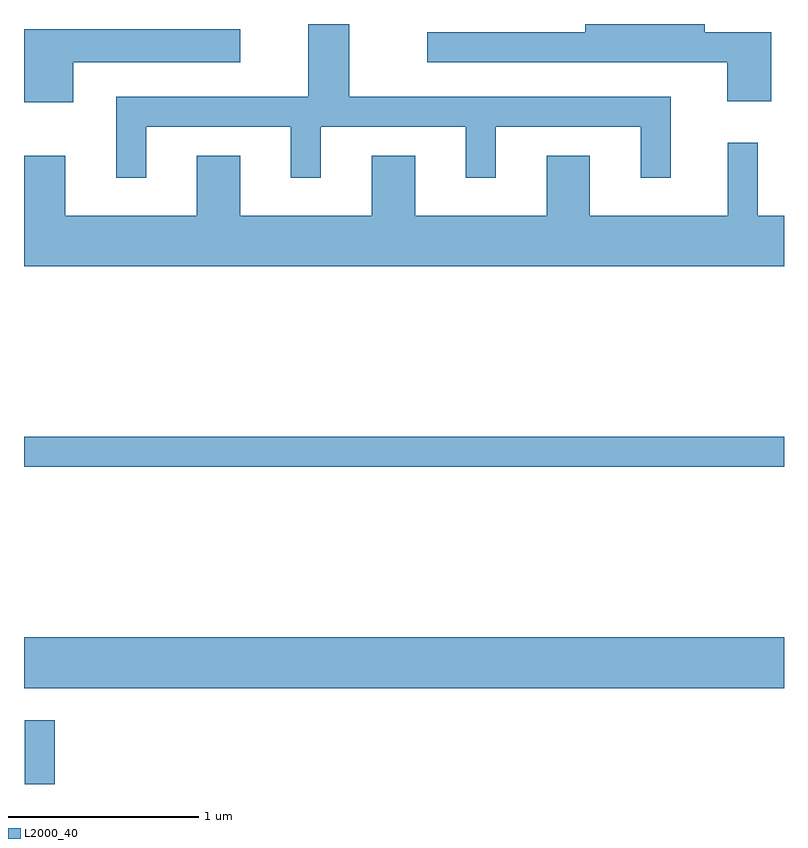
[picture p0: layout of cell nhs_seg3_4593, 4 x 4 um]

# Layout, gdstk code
import gdstk
lib = gdstk.Library(unit=1e-6, precision=1e-09)
def R(c, l, rs):  # rectangles x0, y0, x1, y1
    for r in rs: c.add(gdstk.rectangle(r[:2], r[2:], *l))
def P(c, l, *ps):  # polygons
    for p in ps: c.add(gdstk.Polygon(p, *l))
L2000_40 = (2000, 40)

nhs_seg3_4593 = lib.new_cell('nhs_seg3_4593')
R(nhs_seg3_4593, L2000_40, [(319.616,1189.892,319.774,1190.228), (319.611,1190.396,323.611,1190.664), (319.611,1191.561,323.611,1191.719)])
P(nhs_seg3_4593, L2000_40, [(320.254,1193.351),(321.016,1193.351),(321.016,1193.083),(321.174,1193.083),(321.174,1193.351),(321.936,1193.351),(321.936,1193.083),(322.094,1193.083),(322.094,1193.351),(322.856,1193.351),(322.856,1193.083),(323.014,1193.083),(323.014,1193.509),(321.324,1193.509),(321.324,1193.892),(321.106,1193.892),(321.106,1193.509),(320.096,1193.509),(320.096,1193.083),(320.254,1193.083)],
  [(323.544,1193.849),(323.194,1193.849),(323.194,1193.892),(322.566,1193.892),(322.566,1193.849),(321.733,1193.849),(321.733,1193.691),(323.311,1193.691),(323.311,1193.486),(323.544,1193.486)],
  [(319.869,1193.691),(320.749,1193.691),(320.749,1193.864),(319.611,1193.864),(319.611,1193.481),(319.869,1193.481)],
  [(323.611,1192.884),(323.474,1192.884),(323.474,1193.268),(323.316,1193.268),(323.316,1192.884),(322.589,1192.884),(322.589,1193.199),(322.361,1193.199),(322.361,1192.884),(321.669,1192.884),(321.669,1193.199),(321.441,1193.199),(321.441,1192.884),(320.749,1192.884),(320.749,1193.199),(320.521,1193.199),(320.521,1192.884),(319.829,1192.884),(319.829,1193.199),(319.611,1193.199),(319.611,1192.616),(323.611,1192.616)])

lib.write_gds('nhs_seg3_4593.gds')
